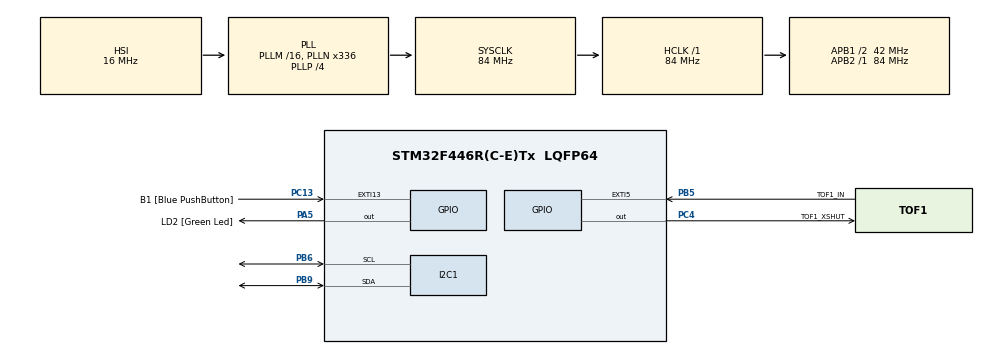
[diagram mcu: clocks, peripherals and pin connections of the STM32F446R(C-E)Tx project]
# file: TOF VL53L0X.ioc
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Mcu.Family=STM32F4
Mcu.Name=STM32F446R(C-E)Tx
Mcu.Package=LQFP64
NVIC.PriorityGroup=NVIC_PRIORITYGROUP_0
PA13.GPIO_Label=TMS
PA13.Signal=SYS_JTMS-SWDIO
PA14.GPIO_Label=TCK
PA14.Signal=SYS_JTCK-SWCLK
PA2.GPIO_Label=USART_TX
PA2.Signal=USART2_TX
PA3.GPIO_Label=USART_RX
PA3.Signal=USART2_RX
PA5.GPIO_Label=LD2 [Green Led]
PA5.Signal=GPIO_Output
PB3.GPIO_Label=SWO
PB3.Signal=SYS_JTDO-SWO
PB5.GPIO_Label=TOF1_IN
PB5.Signal=GPXTI5
PB6.Mode=I2C
PB6.Signal=I2C1_SCL
PB9.Mode=I2C
PB9.Signal=I2C1_SDA
PC13.GPIO_Label=B1 [Blue PushButton]
PC13.GPIO_ModeDefaultEXTI=GPIO_MODE_IT_FALLING
PC13.Signal=GPXTI13
PC14-OSC32_IN.Signal=RCC_OSC32_IN
PC15-OSC32_OUT.Signal=RCC_OSC32_OUT
PC4.GPIO_Label=TOF1_XSHUT
PC4.Signal=GPIO_Output
PH0-OSC_IN.Signal=RCC_OSC_IN
PH1-OSC_OUT.Signal=RCC_OSC_OUT
ProjectManager.HeapSize=0x200
ProjectManager.StackSize=0x400
ProjectManager.TargetToolchain=STM32CubeIDE
RCC.AHBFreq_Value=84000000
RCC.APB1CLKDivider=RCC_HCLK_DIV2
RCC.APB1Freq_Value=42000000
RCC.APB1TimFreq_Value=84000000
RCC.APB2Freq_Value=84000000
RCC.APB2TimFreq_Value=84000000
RCC.CortexFreq_Value=84000000
RCC.FLatency-AdvancedSettings=FLASH_LATENCY_2
RCC.HCLKFreq_Value=84000000
RCC.HSE_VALUE=8000000
RCC.HSI_VALUE=16000000
RCC.LSE_VALUE=32768
RCC.PLLN=336
RCC.PLLP=RCC_PLLP_DIV4
RCC.SYSCLKFreq_VALUE=84000000
RCC.SYSCLKSource=RCC_SYSCLKSOURCE_PLLCLK
RCC.USBFreq_Value=168000000
RCC.VCOOutputFreq_Value=336000000
board=NUCLEO-F446RE

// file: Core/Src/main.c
/* USER CODE BEGIN Header */
/**
 ******************************************************************************
 * @file           : main.c
 * @brief          : Main program body
 ******************************************************************************
 * @attention
 *
 * Copyright (c) 2023 STMicroelectronics.
 * All rights reserved.
 *
 * This software is licensed under terms that can be found in the LICENSE file
 * in the root directory of this software component.
 * If no LICENSE file comes with this software, it is provided AS-IS.
 *
 ******************************************************************************
 */
/* USER CODE END Header */
#include "main.h"

/* USER CODE BEGIN Includes */
#include "tof.h"
/* USER CODE END Includes */

I2C_HandleTypeDef hi2c1;

void SystemClock_Config(void);
static void MX_GPIO_Init(void);
static void MX_I2C1_Init(void);

int main(void)
{

  /* MCU Configuration--------------------------------------------------------*/

  /* Reset of all peripherals, Initializes the Flash interface and the Systick. */
  HAL_Init();

  /* Configure the system clock */
  SystemClock_Config();

  /* Initialize all configured peripherals */
  MX_GPIO_Init();
  MX_I2C1_Init();
  /* USER CODE BEGIN 2 */
	uint32_t refSpadCount;
	uint8_t isApertureSpads;
	uint8_t VhvSettings;
	uint8_t PhaseCal;

	// TOF INIT
	VL53L0X_RangingMeasurementData_t RangingData;
	static VL53L0X_Error myStatus = VL53L0X_ERROR_NONE;
	myStatus=TOF1_VL53L0X_Init_Single(&refSpadCount,&isApertureSpads,&VhvSettings,&PhaseCal,0);
	if (myStatus!=VL53L0X_ERROR_NONE) {
		printf("TOF1 Initialization Error : %i\r\n", myStatus);
	}

	TOFX_VL53L0X_LongRangeSettings(TOF1);
	VL53L0X_StartMeasurement (TOF1);

  /* USER CODE END 2 */

  /* Infinite loop */
  /* USER CODE BEGIN WHILE */
	while (1)
	{
		// GET TOF 1
		myStatus = VL53L0X_PerformSingleRangingMeasurement(TOF1, &RangingData);
		if (myStatus!=VL53L0X_ERROR_NONE) {
			Error_Handler();
		}
		if(RangingData.RangeStatus == 0)
		{
			int range = RangingData.RangeMilliMeter;
			printf("distance value : %d", range);
		}
    /* USER CODE END WHILE */

	}
}

void SystemClock_Config(void)
{
  RCC_OscInitTypeDef RCC_OscInitStruct = {0};
  RCC_ClkInitTypeDef RCC_ClkInitStruct = {0};

  /** Configure the main internal regulator output voltage
  */
  __HAL_RCC_PWR_CLK_ENABLE();
  __HAL_PWR_VOLTAGESCALING_CONFIG(PWR_REGULATOR_VOLTAGE_SCALE3);

  /** Initializes the RCC Oscillators according to the specified parameters
  * in the RCC_OscInitTypeDef structure.
  */
  RCC_OscInitStruct.OscillatorType = RCC_OSCILLATORTYPE_HSI;
  RCC_OscInitStruct.HSIState = RCC_HSI_ON;
  RCC_OscInitStruct.HSICalibrationValue = RCC_HSICALIBRATION_DEFAULT;
  RCC_OscInitStruct.PLL.PLLState = RCC_PLL_ON;
  RCC_OscInitStruct.PLL.PLLSource = RCC_PLLSOURCE_HSI;
  RCC_OscInitStruct.PLL.PLLM = 16;
  RCC_OscInitStruct.PLL.PLLN = 336;
  RCC_OscInitStruct.PLL.PLLP = RCC_PLLP_DIV4;
  RCC_OscInitStruct.PLL.PLLQ = 2;
  RCC_OscInitStruct.PLL.PLLR = 2;
  if (HAL_RCC_OscConfig(&RCC_OscInitStruct) != HAL_OK)
  {
    Error_Handler();
  }

  /** Initializes the CPU, AHB and APB buses clocks
  */
  RCC_ClkInitStruct.ClockType = RCC_CLOCKTYPE_HCLK|RCC_CLOCKTYPE_SYSCLK
                              |RCC_CLOCKTYPE_PCLK1|RCC_CLOCKTYPE_PCLK2;
  RCC_ClkInitStruct.SYSCLKSource = RCC_SYSCLKSOURCE_PLLCLK;
  RCC_ClkInitStruct.AHBCLKDivider = RCC_SYSCLK_DIV1;
  RCC_ClkInitStruct.APB1CLKDivider = RCC_HCLK_DIV2;
  RCC_ClkInitStruct.APB2CLKDivider = RCC_HCLK_DIV1;

  if (HAL_RCC_ClockConfig(&RCC_ClkInitStruct, FLASH_LATENCY_2) != HAL_OK)
  {
    Error_Handler();
  }
}

static void MX_I2C1_Init(void)
{

  hi2c1.Instance = I2C1;
  hi2c1.Init.ClockSpeed = 100000;
  hi2c1.Init.DutyCycle = I2C_DUTYCYCLE_2;
  hi2c1.Init.OwnAddress1 = 0;
  hi2c1.Init.AddressingMode = I2C_ADDRESSINGMODE_7BIT;
  hi2c1.Init.DualAddressMode = I2C_DUALADDRESS_DISABLE;
  hi2c1.Init.OwnAddress2 = 0;
  hi2c1.Init.GeneralCallMode = I2C_GENERALCALL_DISABLE;
  hi2c1.Init.NoStretchMode = I2C_NOSTRETCH_DISABLE;
  if (HAL_I2C_Init(&hi2c1) != HAL_OK)
  {
    Error_Handler();
  }

}

static void MX_GPIO_Init(void)
{
  GPIO_InitTypeDef GPIO_InitStruct = {0};

  /* GPIO Ports Clock Enable */
  __HAL_RCC_GPIOC_CLK_ENABLE();
  __HAL_RCC_GPIOH_CLK_ENABLE();
  __HAL_RCC_GPIOA_CLK_ENABLE();
  __HAL_RCC_GPIOB_CLK_ENABLE();

  /*Configure GPIO pin Output Level */
  HAL_GPIO_WritePin(LD2_GPIO_Port, LD2_Pin, GPIO_PIN_RESET);

  /*Configure GPIO pin Output Level */
  HAL_GPIO_WritePin(TOF1_XSHUT_GPIO_Port, TOF1_XSHUT_Pin, GPIO_PIN_RESET);

  /*Configure GPIO pin : B1_Pin */
  GPIO_InitStruct.Pin = B1_Pin;
  GPIO_InitStruct.Mode = GPIO_MODE_IT_FALLING;
  GPIO_InitStruct.Pull = GPIO_NOPULL;
  HAL_GPIO_Init(B1_GPIO_Port, &GPIO_InitStruct);

  /*Configure GPIO pins : USART_TX_Pin USART_RX_Pin */
  GPIO_InitStruct.Pin = USART_TX_Pin|USART_RX_Pin;
  GPIO_InitStruct.Mode = GPIO_MODE_AF_PP;
  GPIO_InitStruct.Pull = GPIO_NOPULL;
  GPIO_InitStruct.Speed = GPIO_SPEED_FREQ_VERY_HIGH;
  GPIO_InitStruct.Alternate = GPIO_AF7_USART2;
  HAL_GPIO_Init(GPIOA, &GPIO_InitStruct);

  /*Configure GPIO pin : LD2_Pin */
  GPIO_InitStruct.Pin = LD2_Pin;
  GPIO_InitStruct.Mode = GPIO_MODE_OUTPUT_PP;
  GPIO_InitStruct.Pull = GPIO_NOPULL;
  GPIO_InitStruct.Speed = GPIO_SPEED_FREQ_LOW;
  HAL_GPIO_Init(LD2_GPIO_Port, &GPIO_InitStruct);

  /*Configure GPIO pin : TOF1_XSHUT_Pin */
  GPIO_InitStruct.Pin = TOF1_XSHUT_Pin;
  GPIO_InitStruct.Mode = GPIO_MODE_OUTPUT_PP;
  GPIO_InitStruct.Pull = GPIO_NOPULL;
  GPIO_InitStruct.Speed = GPIO_SPEED_FREQ_LOW;
  HAL_GPIO_Init(TOF1_XSHUT_GPIO_Port, &GPIO_InitStruct);

  /*Configure GPIO pin : TOF1_IN_Pin */
  GPIO_InitStruct.Pin = TOF1_IN_Pin;
  GPIO_InitStruct.Mode = GPIO_MODE_IT_RISING;
  GPIO_InitStruct.Pull = GPIO_NOPULL;
  HAL_GPIO_Init(TOF1_IN_GPIO_Port, &GPIO_InitStruct);

}

void Error_Handler(void)
{
	__disable_irq();
	while (1)
	{
	}
}
